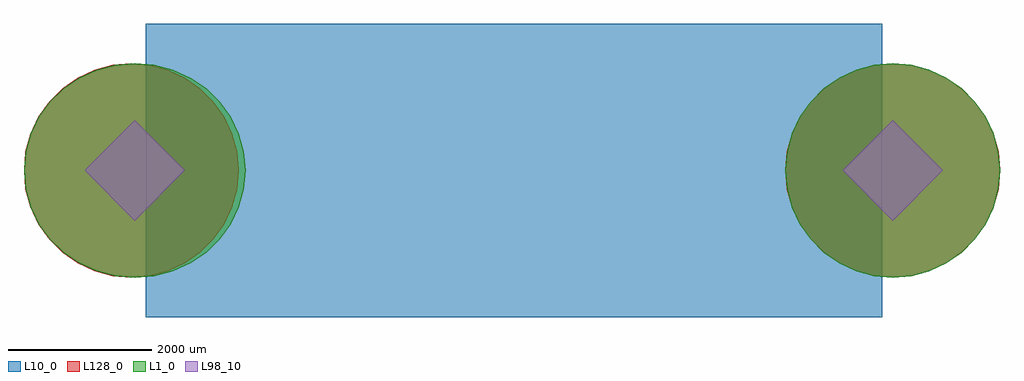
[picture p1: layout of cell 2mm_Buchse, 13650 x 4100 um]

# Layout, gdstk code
import gdstk
lib = gdstk.Library(unit=1e-6, precision=1e-09)
def R(c, l, rs):  # rectangles x0, y0, x1, y1
    for r in rs: c.add(gdstk.rectangle(r[:2], r[2:], *l))
def P(c, l, *ps):  # polygons
    for p in ps: c.add(gdstk.Polygon(p, *l))
L1_0 = (1, 0)
L10_0 = (10, 0)
L98_10 = (98, 10)
L128_0 = (128, 0)

c_2mm_buchse = lib.new_cell('2mm_Buchse')
P(c_2mm_buchse, L1_0, [(1550,0),(1526.452,-260.472),(1456.524,-513.03),(1342.339,-750),(1187.369,-964.181),(996.321,-1149.067),(775,-1299.038),(530.131,-1409.539),(269.155,-1477.212),(0,-1500),(-269.155,-1477.212),(-530.131,-1409.539),(-775,-1299.038),(-996.321,-1149.067),(-1187.369,-964.181),(-1342.339,-750),(-1456.524,-513.03),(-1526.452,-260.472),(-1550,0),(-1526.452,260.472),(-1456.524,513.03),(-1342.339,750),(-1187.369,964.181),(-996.321,1149.067),(-775,1299.038),(-530.131,1409.539),(-269.155,1477.212),(0,1500),(269.155,1477.212),(530.131,1409.539),(775,1299.038),(996.321,1149.067),(1187.369,964.181),(1342.339,750),(1456.524,513.03),(1526.452,260.472)],
  [(12100,0),(12077.212,-260.472),(12009.539,-513.03),(11899.038,-750),(11749.067,-964.181),(11564.181,-1149.067),(11350,-1299.038),(11113.03,-1409.539),(10860.472,-1477.212),(10600,-1500),(10339.528,-1477.212),(10086.97,-1409.539),(9850,-1299.038),(9635.819,-1149.067),(9450.933,-964.181),(9300.962,-750),(9190.461,-513.03),(9122.788,-260.472),(9100,0),(9122.788,260.472),(9190.461,513.03),(9300.962,750),(9450.933,964.181),(9635.819,1149.067),(9850,1299.038),(10086.97,1409.539),(10339.528,1477.212),(10600,1500),(10860.472,1477.212),(11113.03,1409.539),(11350,1299.038),(11564.181,1149.067),(11749.067,964.181),(11899.038,750),(12009.539,513.03),(12077.212,260.472)])
R(c_2mm_buchse, L10_0, [(150,-2050,10450,2050)])
P(c_2mm_buchse, L98_10, [(-700,0),(0,-700),(700,0),(0,700)],
  [(9900,0),(10600,-700),(11300,0),(10600,700)])
P(c_2mm_buchse, L128_0, [(1000,0),(984.808,-173.648),(939.693,-342.02),(866.025,-500),(766.044,-642.788),(642.788,-766.044),(500,-866.025),(342.02,-939.693),(173.648,-984.808),(0,-1000),(-173.648,-984.808),(-342.02,-939.693),(-500,-866.025),(-642.788,-766.044),(-766.044,-642.788),(-866.025,-500),(-939.693,-342.02),(-984.808,-173.648),(-1000,0),(-984.808,173.648),(-939.693,342.02),(-866.025,500),(-766.044,642.788),(-642.788,766.044),(-500,866.025),(-342.02,939.693),(-173.648,984.808),(0,1000),(173.648,984.808),(342.02,939.693),(500,866.025),(642.788,766.044),(766.044,642.788),(866.025,500),(939.693,342.02),(984.808,173.648)],
  [(11600,0),(11584.808,-173.648),(11539.693,-342.02),(11466.025,-500),(11366.044,-642.788),(11242.788,-766.044),(11100,-866.025),(10942.02,-939.693),(10773.648,-984.808),(10600,-1000),(10426.352,-984.808),(10257.98,-939.693),(10100,-866.025),(9957.212,-766.044),(9833.956,-642.788),(9733.975,-500),(9660.307,-342.02),(9615.192,-173.648),(9600,0),(9615.192,173.648),(9660.307,342.02),(9733.975,500),(9833.956,642.788),(9957.212,766.044),(10100,866.025),(10257.98,939.693),(10426.352,984.808),(10600,1000),(10773.648,984.808),(10942.02,939.693),(11100,866.025),(11242.788,766.044),(11366.044,642.788),(11466.025,500),(11539.693,342.02),(11584.808,173.648)],
  [(1450,0),(1430,-260),(1360,-510),(1250,-750),(1100,-960),(910,-1150),(700,-1300),(460,-1410),(210,-1480),(-50,-1500),(-310,-1480),(-560,-1410),(-800,-1300),(-1010,-1150),(-1200,-960),(-1350,-750),(-1460,-510),(-1530,-260),(-1550,0),(-1530,260),(-1460,510),(-1350,750),(-1200,960),(-1010,1150),(-800,1300),(-560,1410),(-310,1480),(-50,1500),(210,1480),(460,1410),(700,1300),(910,1150),(1100,960),(1250,750),(1360,510),(1430,260)],
  [(12100,0),(12080,-260),(12010,-510),(11900,-750),(11750,-960),(11560,-1150),(11350,-1300),(11110,-1410),(10860,-1480),(10600,-1500),(10340,-1480),(10090,-1410),(9850,-1300),(9640,-1150),(9450,-960),(9300,-750),(9190,-510),(9120,-260),(9100,0),(9120,260),(9190,510),(9300,750),(9450,960),(9640,1150),(9850,1300),(10090,1410),(10340,1480),(10600,1500),(10860,1480),(11110,1410),(11350,1300),(11560,1150),(11750,960),(11900,750),(12010,510),(12080,260)])
c_2mm_buchse.add(gdstk.FlexPath([(0,-700),(0,700)], 0, ends="round", simple_path=True, layer=10, datatype=0))  # L10_0

lib.write_gds('2mm_Buchse.gds')
